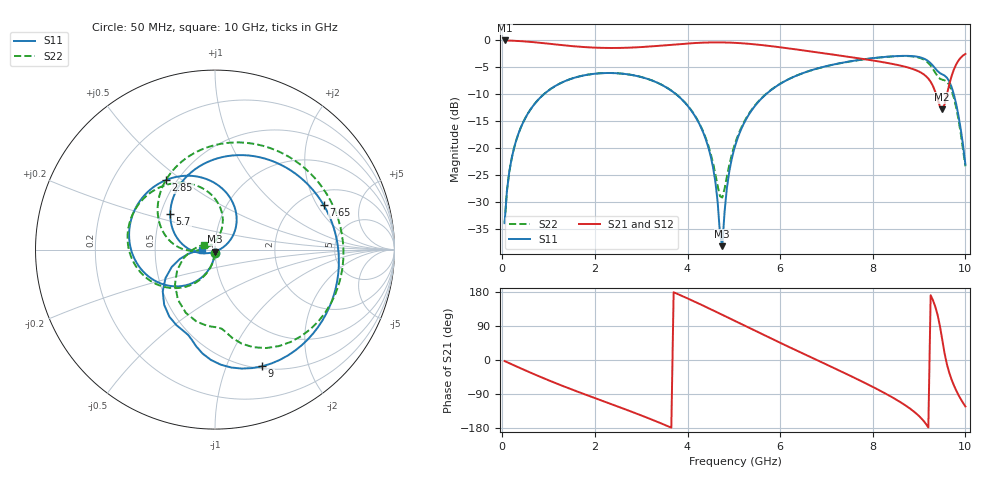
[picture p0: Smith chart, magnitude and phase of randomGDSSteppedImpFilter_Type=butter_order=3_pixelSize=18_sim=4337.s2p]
! freq	dB(S11)	phase(S11)	dB(S12)	phase(S12)
!  dB(S21)	phase(S21)	dB(S22)	phase(S22)
!S-par simulation data
#  GHz  S  DB  R 50
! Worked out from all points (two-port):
!   200 points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, 50 MHz to 10 GHz, reference 50 ohm
!   highest |S21| = -0.01 dB at 50 MHz (marker M1); lowest = -12.8 dB at 9.5 GHz (marker M2)
!   |S21| within 3 dB of the highest: start of sweep to 7.454 GHz; 9.923 GHz to end of sweep
!   lowest |S11| = -38.1 dB at 4.75 GHz (marker M3), VSWR 1.03, Z = 49.9 - j1.23 ohm
!   |S11| at or under -10 dB: start of sweep to 893.3 MHz; 3.757 GHz to 5.69 GHz (1.933 GHz wide, 40.9 % of centre); 9.751 GHz to end of sweep
!   |S22| runs from -33.8 to -2.9 dB; largest |S21 - S12| = 0
!   S11 on the Smith chart (normalised r, x): 50 MHz: 1.00, -0.04; 2.85 GHz: 0.44, +0.44; 5.7 GHz: 0.56, +0.25; 7.65 GHz: 2.63, +2.28; 9 GHz: 0.53, -1.35; 10 GHz: 0.87, -0.00
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0.05  -33.84 -92.8  -0.01 -2.8  -0.01 -2.8  -33.84 -92.7
0.2  -21.94 -101.8  -0.05 -11.2  -0.05 -11.2  -21.94 -101.2
0.5  -14.33 -118.7  -0.20 -27.5  -0.20 -27.5  -14.33 -117.2
1.1  -8.67 -150.7  -0.70 -58.5  -0.70 -58.5  -8.67 -147.3
1.75  -6.50 177.4  -1.22 -89.2  -1.22 -89.2  -6.50 -176.9
2.85  -6.49 125.2  -1.30 -139.1  -1.30 -139.1  -6.48 136.0
3.4  -8.04 97.0  -0.98 -165.7  -0.98 -165.7  -8.03 111.8
4.35  -17.29 40.0  -0.41 142.7  -0.41 142.7  -17.13 72.7
4.55  -23.48 23.2  -0.37 131.1  -0.37 131.1  -22.69 75.5
4.75  -38.10 -96.0  -0.37 119.3  -0.37 119.3  -29.09 138.0
4.85  -27.33 -152.7  -0.39 113.3  -0.39 113.3  -25.21 172.5
5.05  -18.92 -174.2  -0.46 101.4  -0.46 101.4  -18.49 -176.6
5.7  -9.93 141.4  -0.95 62.8  -0.95 62.8  -9.87 158.4
6.7  -5.45 79.3  -2.09 5.3  -2.09 5.3  -5.47 107.8
7.65  -3.69 22.3  -3.25 -49.7  -3.25 -49.7  -3.71 56.6
8.35  -2.99 -20.5  -4.23 -93.6  -4.23 -93.6  -3.01 13.5
9  -3.08 -68.0  -5.77 -148.1  -5.77 -148.1  -3.19 -39.7
9.25  -4.23 -92.2  -7.66 171.0  -7.66 171.0  -4.67 -68.6
9.5  -6.28 -111.5  -12.79 53.7  -12.79 53.7  -7.27 -89.1
9.7  -8.57 -141.4  -6.66 -51.0  -6.66 -51.0  -9.19 -126.5
9.85  -13.89 -165.2  -3.73 -92.1  -3.73 -92.1  -14.62 -163.8
10  -22.97 -179.9  -2.50 -122.6  -2.50 -122.6  -23.31 155.6
